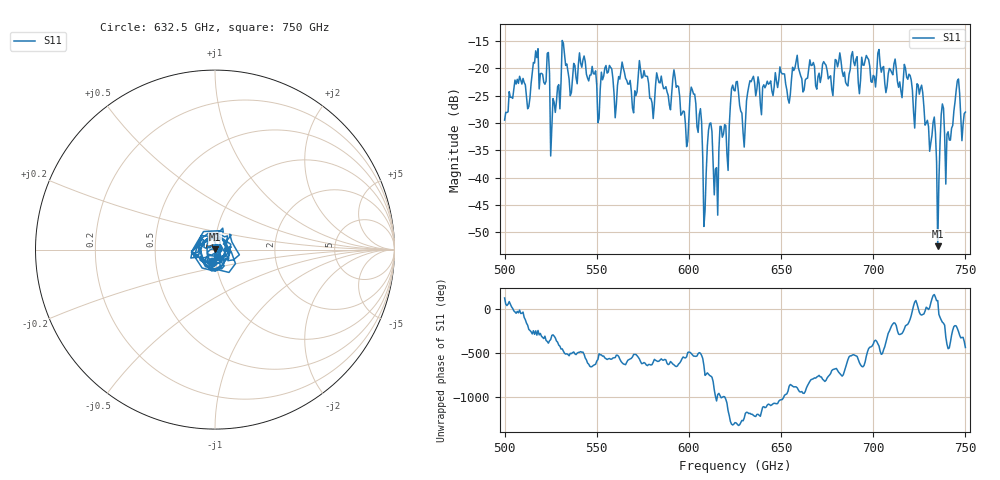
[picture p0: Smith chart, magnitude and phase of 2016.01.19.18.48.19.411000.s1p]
!Created with skrf (http://scikit-rf.org).
# GHz S RI R 50.0
!freq ReS11 ImS11
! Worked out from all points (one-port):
!   401 points, 500 GHz to 750 GHz, reference 50 ohm
!   lowest |S11| = -52.6 dB at 735 GHz (marker M1), VSWR 1.00, Z = 50 + j0.234 ohm
!   |S11| at or under -10 dB: start of sweep to end of sweep
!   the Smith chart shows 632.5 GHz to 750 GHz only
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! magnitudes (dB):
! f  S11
! 500 GHz  -29.5
! 506.9 GHz  -22.0
! 513.1 GHz  -27.0
! 516.9 GHz  -16.8
! 523.1 GHz  -17.3
! 526.2 GHz  -25.5
! 531.2 GHz  -14.9
! 551.2 GHz  -29.2
! 562.5 GHz  -22.0
! 580 GHz  -26.3
! 593.8 GHz  -23.2
! 598.8 GHz  -34.3
! 602.5 GHz  -24.7
! 608.8 GHz  -46.0
! 611.2 GHz  -30.1
! 614.4 GHz  -38.4
! 625 GHz  -24.1
! 629.4 GHz  -31.7
! 633.8 GHz  -22.4
! 656.2 GHz  -19.8
! 687.5 GHz  -20.2
! 718.8 GHz  -22.0
! 732.5 GHz  -29.8
! 735 GHz  -52.6
! 737.5 GHz  -26.5
! 740.6 GHz  -31.6
! 745.6 GHz  -22.3
! 750 GHz  -28.0
